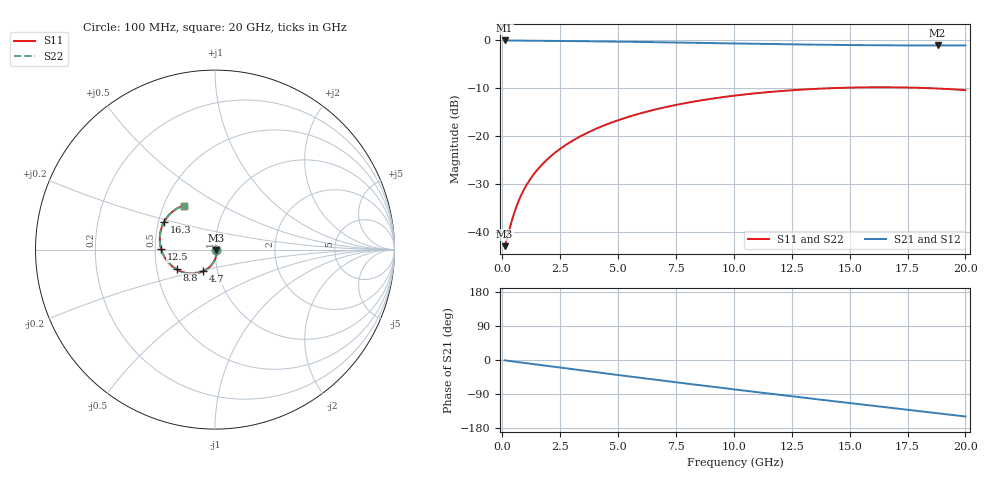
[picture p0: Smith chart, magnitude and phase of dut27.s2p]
! Touchstone file exported from HFSS 2026.1.0
!  File:  C:/ffzhzh/LocalFiles/Ansys_Project_Files/temp_train_TSV_RDL_27_1782963759_15332.aedt
!  Generated:  11:49:10 AM Jul  2, 2026
!  Design:  TSV_RDL
!  Project:  temp_train_TSV_RDL_27_1782963759_15332
! Variables:
!  h_bsmrdl = 2.71um
!  h_ox = 20um
!  h_rdl = 5um
!  h_sub = 73.58um
!  h_tmrdl = 5.11um
!  h_tsv = 73.58um
!  h_via = 3um
!  l_bsmrdl = 149.82um
!  l_sub = 2066.91um
!  l_tmrdl = 266.54um
!  m_sub = 200um
!  pitch = 31.57um
!  r_tsv = 14.39um
!  s_tmrdl = 10um
!  w_bsmrdl = 29.81um
!  w_sub = 500um
!  w_tmrdl = 20.62um
!  x_tsv_center1 = 276.85um
!  x_tsv_center2 = 456.48um
!  x_tsv_center3 = 743.64um
!  x_tsv_center4 = 923.27um
!  x_tsv_center5 = 1210.43um
!  x_tsv_center6 = 1390.06um
# GHz S MA R 50.000000
! Terminal data exported
! Port[1] = TM_RDL1_1_T1
! Port[2] = TM_RDL5_1_T1
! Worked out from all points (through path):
!   200 points, 100 MHz to 20 GHz, reference 50 ohm
!   highest |S21| = -0.06 dB at 100 MHz (marker M1); lowest = -1.1 dB at 18.8 GHz (marker M2)
!   group delay of S21, straight-line fit = 20.6 ps
!   lowest |S11| = -43.0 dB at 100 MHz (marker M3), VSWR 1.01, Z = 50.7 - j0.174 ohm
!   |S11| at or under -10 dB: start of sweep to 14.31 GHz; 18.38 GHz to end of sweep
!   |S22| runs from -43.0 to -9.8 dB; largest |S21 - S12| = 4.9e-14
!   S11 on the Smith chart (normalised r, x): 100 MHz: 1.01, -0.00; 4.7 GHz: 0.85, -0.21; 8.8 GHz: 0.64, -0.15; 12.5 GHz: 0.54, +0.00; 16.3 GHz: 0.54, +0.18; 20 GHz: 0.63, +0.34
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0.1  0.007096 -14.0  0.9931 -0.9  0.9931 -0.9  0.007096 -14.0
! Gamma 0 0 0 0
! Port Impedance 50 0 50 0
0.5  0.01536 -52.9  0.9898 -4.2  0.9898 -4.2  0.01536 -52.9
0.7  0.02086 -63.3  0.9887 -5.8  0.9887 -5.8  0.02086 -63.3
1  0.02946 -73.6  0.9874 -8.1  0.9874 -8.1  0.02946 -73.6
1.3  0.03819 -80.6  0.9863 -10.5  0.9863 -10.5  0.03819 -80.6
1.7  0.04994 -87.5  0.9848 -13.7  0.9848 -13.7  0.04994 -87.5
2.2  0.0647 -94.2  0.9826 -17.7  0.9826 -17.7  0.0647 -94.2
2.8  0.08246 -100.9  0.9796 -22.4  0.9796 -22.4  0.08246 -100.9
3.5  0.1031 -107.9  0.9756 -27.9  0.9756 -27.9  0.1031 -107.9
4.7  0.1377 -118.8  0.9677 -37.3  0.9677 -37.3  0.1377 -118.8
5.7  0.1654 -127.3  0.9603 -45.0  0.9603 -45.0  0.1654 -127.3
6.8  0.194 -136.5  0.9514 -53.4  0.9514 -53.4  0.194 -136.5
8.8  0.24 -152.5  0.9344 -68.5  0.9344 -68.5  0.24 -152.5
10.1  0.2651 -162.6  0.9233 -78.2  0.9233 -78.2  0.2651 -162.6
11.3  0.2846 -171.8  0.9135 -87.0  0.9135 -87.0  0.2846 -171.7
12.5  0.3002 179.3  0.9044 -95.7  0.9044 -95.7  0.3002 179.3
13.4  0.3094 172.6  0.8984 -102.2  0.8984 -102.2  0.3094 172.6
14.8  0.319 162.4  0.8904 -112.2  0.8904 -112.2  0.319 162.5
16.3  0.3228 151.7  0.8843 -122.8  0.8843 -122.8  0.3228 151.7
16.7  0.3226 148.8  0.8831 -125.6  0.8831 -125.6  0.3226 148.8
18.8  0.3131 133.9  0.8802 -140.5  0.8802 -140.5  0.3131 134.0
20  0.3009 125.5  0.8811 -149.1  0.8811 -149.1  0.3009 125.5
